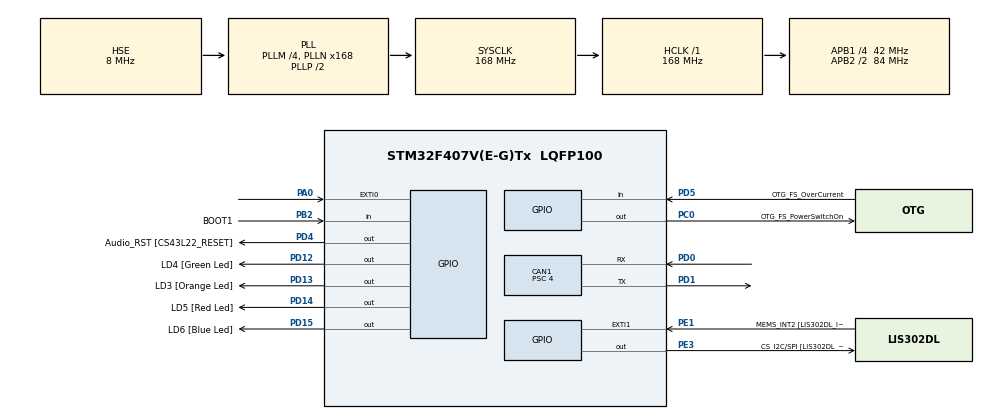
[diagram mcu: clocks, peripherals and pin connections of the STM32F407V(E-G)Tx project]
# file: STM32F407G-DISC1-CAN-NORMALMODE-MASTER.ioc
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CAN1.BS1=CAN_BS1_16TQ
CAN1.BS2=CAN_BS2_4TQ
CAN1.CalculateBaudRate=500000
CAN1.CalculateTimeBit=2000
CAN1.CalculateTimeQuantum=95.23809523809524
CAN1.Mode=CAN_MODE_NORMAL
CAN1.NART=ENABLE
CAN1.Prescaler=4
Mcu.Family=STM32F4
Mcu.Name=STM32F407V(E-G)Tx
Mcu.Package=LQFP100
NVIC.CAN1_RX0_IRQn=true\:0\:0\:false\:false\:true\:true\:true\:true
NVIC.EXTI0_IRQn=true\:0\:0\:false\:false\:true\:true\:true\:true
NVIC.PriorityGroup=NVIC_PRIORITYGROUP_0
PA0-WKUP.Signal=GPXTI0
PA10.GPIO_Label=OTG_FS_ID
PA10.GPIO_Mode=GPIO_MODE_AF_PP
PA10.GPIO_PuPd=GPIO_NOPULL
PA10.GPIO_Speed=GPIO_SPEED_FREQ_LOW
PA10.Signal=USB_OTG_FS_ID
PA11.GPIO_Label=OTG_FS_DM
PA11.GPIO_Mode=GPIO_MODE_AF_PP
PA11.GPIO_PuPd=GPIO_NOPULL
PA11.GPIO_Speed=GPIO_SPEED_FREQ_LOW
PA11.Signal=USB_OTG_FS_DM
PA12.GPIO_Label=OTG_FS_DP
PA12.GPIO_Mode=GPIO_MODE_AF_PP
PA12.GPIO_PuPd=GPIO_NOPULL
PA12.GPIO_Speed=GPIO_SPEED_FREQ_LOW
PA12.Signal=USB_OTG_FS_DP
PA13.GPIO_Label=SWDIO
PA13.Signal=SYS_JTMS-SWDIO
PA14.GPIO_Label=SWCLK
PA14.Signal=SYS_JTCK-SWCLK
PA4.GPIO_Label=I2S3_WS [CS43L22_LRCK]
PA4.GPIO_Mode=GPIO_MODE_AF_PP
PA4.GPIO_PuPd=GPIO_NOPULL
PA4.GPIO_Speed=GPIO_SPEED_FREQ_LOW
PA4.Signal=I2S3_WS
PA5.GPIO_Label=SPI1_SCK [LIS302DL_SCL/SPC]
PA5.GPIO_Mode=GPIO_MODE_AF_PP
PA5.GPIO_PuPd=GPIO_NOPULL
PA5.GPIO_Speed=GPIO_SPEED_FREQ_LOW
PA5.Signal=SPI1_SCK
PA6.GPIO_Label=SPI1_MISO [LIS302DL_SDO]
PA6.GPIO_Mode=GPIO_MODE_AF_PP
PA6.GPIO_PuPd=GPIO_NOPULL
PA6.GPIO_Speed=GPIO_SPEED_FREQ_LOW
PA6.Signal=SPI1_MISO
PA7.GPIO_Label=SPI1_MOSI [LIS302DL_SDA/SDI/SDO]
PA7.GPIO_Mode=GPIO_MODE_AF_PP
PA7.GPIO_PuPd=GPIO_NOPULL
PA7.GPIO_Speed=GPIO_SPEED_FREQ_LOW
PA7.Signal=SPI1_MOSI
PA9.GPIO_Label=VBUS_FS
PA9.GPIO_Mode=GPIO_MODE_INPUT
PA9.GPIO_PuPd=GPIO_NOPULL
PA9.Signal=USB_OTG_FS_VBUS
PB10.GPIO_Label=CLK_IN [MP45DT02_CLK]
PB10.GPIO_Mode=GPIO_MODE_AF_PP
PB10.GPIO_PuPd=GPIO_NOPULL
PB10.GPIO_Speed=GPIO_SPEED_FREQ_LOW
PB10.Signal=I2S2_CK
PB2.GPIO_Label=BOOT1
PB2.GPIO_Mode=GPIO_MODE_INPUT
PB2.GPIO_PuPd=GPIO_NOPULL
PB2.Signal=GPIO_Input
PB3.GPIO_Label=SWO
PB3.Signal=SYS_JTDO-SWO
PB6.GPIO_Label=Audio_SCL [CS43L22_SCL]
PB6.GPIO_Mode=GPIO_MODE_AF_OD
PB6.GPIO_PuPd=GPIO_NOPULL
PB6.GPIO_Speed=GPIO_SPEED_FREQ_LOW
PB6.Signal=I2C1_SCL
PB9.GPIO_Label=Audio_SDA [CS43L22_SDA]
PB9.GPIO_Mode=GPIO_MODE_AF_OD
PB9.GPIO_PuPd=GPIO_NOPULL
PB9.GPIO_Speed=GPIO_SPEED_FREQ_LOW
PB9.Signal=I2C1_SDA
PC0.GPIO_Label=OTG_FS_PowerSwitchOn
PC0.GPIO_PuPd=GPIO_NOPULL
PC0.GPIO_Speed=GPIO_SPEED_FREQ_LOW
PC0.PinState=GPIO_PIN_SET
PC0.Signal=GPIO_Output
PC10.GPIO_Label=I2S3_SCK [CS43L22_SCLK]
PC10.GPIO_Mode=GPIO_MODE_AF_PP
PC10.GPIO_PuPd=GPIO_NOPULL
PC10.GPIO_Speed=GPIO_SPEED_FREQ_LOW
PC10.Signal=I2S3_CK
PC12.GPIO_Label=I2S3_SD [CS43L22_SDIN]
PC12.GPIO_Mode=GPIO_MODE_AF_PP
PC12.GPIO_PuPd=GPIO_NOPULL
PC12.GPIO_Speed=GPIO_SPEED_FREQ_LOW
PC12.Signal=I2S3_SD
PC14-OSC32_IN.GPIO_Label=PC14-OSC32_IN
PC14-OSC32_IN.Signal=RCC_OSC32_IN
PC15-OSC32_OUT.GPIO_Label=PC15-OSC32_OUT
PC15-OSC32_OUT.Signal=RCC_OSC32_OUT
PC3.GPIO_Label=PDM_OUT [MP45DT02_DOUT]
PC3.GPIO_Mode=GPIO_MODE_AF_PP
PC3.GPIO_PuPd=GPIO_NOPULL
PC3.GPIO_Speed=GPIO_SPEED_FREQ_LOW
PC3.Signal=I2S2_SD
PC7.GPIO_Label=I2S3_MCK [CS43L22_MCLK]
PC7.GPIO_Mode=GPIO_MODE_AF_PP
PC7.GPIO_PuPd=GPIO_NOPULL
PC7.GPIO_Speed=GPIO_SPEED_FREQ_LOW
PC7.Signal=I2S3_MCK
PD0.GPIO_PuPd=GPIO_PULLUP
PD0.Mode=CAN_Activate
PD0.Signal=CAN1_RX
PD1.GPIO_PuPd=GPIO_NOPULL
PD1.Mode=CAN_Activate
PD1.Signal=CAN1_TX
PD12.GPIO_Label=LD4 [Green Led]
PD12.GPIO_PuPd=GPIO_NOPULL
PD12.GPIO_Speed=GPIO_SPEED_FREQ_LOW
PD12.Signal=GPIO_Output
PD13.GPIO_Label=LD3 [Orange Led]
PD13.GPIO_PuPd=GPIO_NOPULL
PD13.GPIO_Speed=GPIO_SPEED_FREQ_LOW
PD13.Signal=GPIO_Output
PD14.GPIO_Label=LD5 [Red Led]
PD14.GPIO_PuPd=GPIO_NOPULL
PD14.GPIO_Speed=GPIO_SPEED_FREQ_LOW
PD14.Signal=GPIO_Output
PD15.GPIO_Label=LD6 [Blue Led]
PD15.GPIO_PuPd=GPIO_NOPULL
PD15.GPIO_Speed=GPIO_SPEED_FREQ_LOW
PD15.Signal=GPIO_Output
PD4.GPIO_Label=Audio_RST [CS43L22_RESET]
PD4.GPIO_PuPd=GPIO_NOPULL
PD4.GPIO_Speed=GPIO_SPEED_FREQ_LOW
PD4.Signal=GPIO_Output
PD5.GPIO_Label=OTG_FS_OverCurrent
PD5.GPIO_Mode=GPIO_MODE_INPUT
PD5.GPIO_PuPd=GPIO_NOPULL
PD5.Signal=GPIO_Input
PE1.GPIO_Label=MEMS_INT2 [LIS302DL_INT2]
PE1.GPIO_ModeDefaultEXTI=GPIO_MODE_EVT_RISING
PE1.GPIO_PuPd=GPIO_NOPULL
PE1.Signal=GPXTI1
PE3.GPIO_Label=CS_I2C/SPI [LIS302DL_CS_I2C/SPI]
PE3.GPIO_PuPd=GPIO_NOPULL
PE3.GPIO_Speed=GPIO_SPEED_FREQ_LOW
PE3.Signal=GPIO_Output
PH0-OSC_IN.GPIO_Label=PH0-OSC_IN
PH0-OSC_IN.Mode=HSE-External-Oscillator
PH0-OSC_IN.Signal=RCC_OSC_IN
PH1-OSC_OUT.GPIO_Label=PH1-OSC_OUT
PH1-OSC_OUT.Mode=HSE-External-Oscillator
PH1-OSC_OUT.Signal=RCC_OSC_OUT
ProjectManager.HeapSize=0x200
ProjectManager.StackSize=0x400
ProjectManager.TargetToolchain=STM32CubeIDE
RCC.48MHZClocksFreq_Value=48000000
RCC.AHBFreq_Value=168000000
RCC.APB1CLKDivider=RCC_HCLK_DIV4
RCC.APB1Freq_Value=42000000
RCC.APB1TimFreq_Value=84000000
RCC.APB2CLKDivider=RCC_HCLK_DIV2
RCC.APB2Freq_Value=84000000
RCC.APB2TimFreq_Value=168000000
RCC.CortexFreq_Value=168000000
RCC.HCLKFreq_Value=168000000
RCC.HSE_VALUE=8000000
RCC.HSI_VALUE=16000000
RCC.LSE_VALUE=32768
RCC.PLLM=4
RCC.PLLN=168
RCC.PLLQ=7
RCC.PLLSourceVirtual=RCC_PLLSOURCE_HSE
RCC.SYSCLKFreq_VALUE=168000000
RCC.SYSCLKSource=RCC_SYSCLKSOURCE_PLLCLK
RCC.VCOOutputFreq_Value=336000000
board=STM32F407G-DISC1

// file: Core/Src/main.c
/* USER CODE BEGIN Header */
/**
  ******************************************************************************
  * @file           : main.c
  * @brief          : Main program body
  ******************************************************************************
  * @attention
  *
  * Copyright (c) 2023 STMicroelectronics.
  * All rights reserved.
  *
  * This software is licensed under terms that can be found in the LICENSE file
  * in the root directory of this software component.
  * If no LICENSE file comes with this software, it is provided AS-IS.
  *
  ******************************************************************************
  */
/* USER CODE END Header */
#include "main.h"

CAN_HandleTypeDef hcan1;

/* USER CODE BEGIN PV */
CAN_TxHeaderTypeDef TxHeader; // Declare a CAN Transmit header structure
CAN_RxHeaderTypeDef RxHeader; // Declare a CAN receive header structure
uint32_t TxMailbox;
uint8_t rcv_msg[2];
uint8_t msg[2] = "OK";
/* USER CODE END PV */

void SystemClock_Config(void);
static void MX_GPIO_Init(void);
static void MX_CAN1_Init(void);
/* USER CODE BEGIN PFP */
void Filter_Config(void); //CAN1 Filter Configuration
void CAN1_Tx(void); //CAN transmit using polling method.
void CAN1_Rx(void); //CAN receive using polling method.
/* USER CODE END PFP */

int main(void)
{

  /* MCU Configuration--------------------------------------------------------*/

  /* Reset of all peripherals, Initializes the Flash interface and the Systick. */
  HAL_Init();

  /* Configure the system clock */
  SystemClock_Config();

  /* Initialize all configured peripherals */
  MX_GPIO_Init();
  MX_CAN1_Init();
  /* USER CODE BEGIN 2 */

  // LED pins initialization
  HAL_GPIO_WritePin(GPIOD, GPIO_PIN_12, GPIO_PIN_RESET); // Reset The Green LED
  HAL_GPIO_WritePin(GPIOD, GPIO_PIN_13, GPIO_PIN_RESET); // Reset The Orange Led
  HAL_GPIO_WritePin(GPIOD, GPIO_PIN_14, GPIO_PIN_RESET); // Reset The Red Led

//  CAN1_Tx(); // Use this method when Transmitting, Comment or remove if the Device should Only Receive.
  CAN1_Rx(); // Use this method when Receiving, Comment or remove if the Device should Only Transmit.

  /* USER CODE END 2 */
  /* Infinite loop */
  while (1)
  {

  }
}

void SystemClock_Config(void)
{
  RCC_OscInitTypeDef RCC_OscInitStruct = {0};
  RCC_ClkInitTypeDef RCC_ClkInitStruct = {0};

  /** Configure the main internal regulator output voltage
  */
  __HAL_RCC_PWR_CLK_ENABLE();
  __HAL_PWR_VOLTAGESCALING_CONFIG(PWR_REGULATOR_VOLTAGE_SCALE1);

  /** Initializes the RCC Oscillators according to the specified parameters
  * in the RCC_OscInitTypeDef structure.
  */
  RCC_OscInitStruct.OscillatorType = RCC_OSCILLATORTYPE_HSE;
  RCC_OscInitStruct.HSEState = RCC_HSE_ON;
  RCC_OscInitStruct.PLL.PLLState = RCC_PLL_ON;
  RCC_OscInitStruct.PLL.PLLSource = RCC_PLLSOURCE_HSE;
  RCC_OscInitStruct.PLL.PLLM = 4;
  RCC_OscInitStruct.PLL.PLLN = 168;
  RCC_OscInitStruct.PLL.PLLP = RCC_PLLP_DIV2;
  RCC_OscInitStruct.PLL.PLLQ = 7;
  if (HAL_RCC_OscConfig(&RCC_OscInitStruct) != HAL_OK)
  {
    Error_Handler();
  }

  /** Initializes the CPU, AHB and APB buses clocks
  */
  RCC_ClkInitStruct.ClockType = RCC_CLOCKTYPE_HCLK|RCC_CLOCKTYPE_SYSCLK
                              |RCC_CLOCKTYPE_PCLK1|RCC_CLOCKTYPE_PCLK2;
  RCC_ClkInitStruct.SYSCLKSource = RCC_SYSCLKSOURCE_PLLCLK;
  RCC_ClkInitStruct.AHBCLKDivider = RCC_SYSCLK_DIV1;
  RCC_ClkInitStruct.APB1CLKDivider = RCC_HCLK_DIV4;
  RCC_ClkInitStruct.APB2CLKDivider = RCC_HCLK_DIV2;

  if (HAL_RCC_ClockConfig(&RCC_ClkInitStruct, FLASH_LATENCY_5) != HAL_OK)
  {
    Error_Handler();
  }
}

static void MX_CAN1_Init(void)
{

  hcan1.Instance = CAN1;
  hcan1.Init.Prescaler = 4;
  hcan1.Init.Mode = CAN_MODE_NORMAL;
  hcan1.Init.SyncJumpWidth = CAN_SJW_1TQ;
  hcan1.Init.TimeSeg1 = CAN_BS1_16TQ;
  hcan1.Init.TimeSeg2 = CAN_BS2_4TQ;
  hcan1.Init.TimeTriggeredMode = DISABLE;
  hcan1.Init.AutoBusOff = DISABLE;
  hcan1.Init.AutoWakeUp = DISABLE;
  hcan1.Init.AutoRetransmission = ENABLE;
  hcan1.Init.ReceiveFifoLocked = DISABLE;
  hcan1.Init.TransmitFifoPriority = DISABLE;
  if (HAL_CAN_Init(&hcan1) != HAL_OK)
  {
    Error_Handler();
  }
  /* USER CODE BEGIN CAN1_Init 2 */

  //Filter Configuration
  Filter_Config();

  // Start the CAN1 Peripheral
  if(HAL_CAN_Start(&hcan1) != HAL_OK){
	  Error_Handler();
  }

  // Activate Interrupts for the CAN1 Peripheral
  /*
  if (HAL_CAN_ActivateNotification(&hcan1, CAN_IT_RX_FIFO0_MSG_PENDING) != HAL_OK)
  {
	  Error_Handler();
  }
  */
  /* USER CODE END CAN1_Init 2 */

}

static void MX_GPIO_Init(void)
{
  GPIO_InitTypeDef GPIO_InitStruct = {0};

  /* GPIO Ports Clock Enable */
  __HAL_RCC_GPIOE_CLK_ENABLE();
  __HAL_RCC_GPIOC_CLK_ENABLE();
  __HAL_RCC_GPIOH_CLK_ENABLE();
  __HAL_RCC_GPIOA_CLK_ENABLE();
  __HAL_RCC_GPIOB_CLK_ENABLE();
  __HAL_RCC_GPIOD_CLK_ENABLE();

  /*Configure GPIO pin Output Level */
  HAL_GPIO_WritePin(CS_I2C_SPI_GPIO_Port, CS_I2C_SPI_Pin, GPIO_PIN_RESET);

  /*Configure GPIO pin Output Level */
  HAL_GPIO_WritePin(OTG_FS_PowerSwitchOn_GPIO_Port, OTG_FS_PowerSwitchOn_Pin, GPIO_PIN_SET);

  /*Configure GPIO pin Output Level */
  HAL_GPIO_WritePin(GPIOD, LD4_Pin|LD3_Pin|LD5_Pin|LD6_Pin
                          |Audio_RST_Pin, GPIO_PIN_RESET);

  /*Configure GPIO pin : CS_I2C_SPI_Pin */
  GPIO_InitStruct.Pin = CS_I2C_SPI_Pin;
  GPIO_InitStruct.Mode = GPIO_MODE_OUTPUT_PP;
  GPIO_InitStruct.Pull = GPIO_NOPULL;
  GPIO_InitStruct.Speed = GPIO_SPEED_FREQ_LOW;
  HAL_GPIO_Init(CS_I2C_SPI_GPIO_Port, &GPIO_InitStruct);

  /*Configure GPIO pin : OTG_FS_PowerSwitchOn_Pin */
  GPIO_InitStruct.Pin = OTG_FS_PowerSwitchOn_Pin;
  GPIO_InitStruct.Mode = GPIO_MODE_OUTPUT_PP;
  GPIO_InitStruct.Pull = GPIO_NOPULL;
  GPIO_InitStruct.Speed = GPIO_SPEED_FREQ_LOW;
  HAL_GPIO_Init(OTG_FS_PowerSwitchOn_GPIO_Port, &GPIO_InitStruct);

  /*Configure GPIO pin : PDM_OUT_Pin */
  GPIO_InitStruct.Pin = PDM_OUT_Pin;
  GPIO_InitStruct.Mode = GPIO_MODE_AF_PP;
  GPIO_InitStruct.Pull = GPIO_NOPULL;
  GPIO_InitStruct.Speed = GPIO_SPEED_FREQ_LOW;
  GPIO_InitStruct.Alternate = GPIO_AF5_SPI2;
  HAL_GPIO_Init(PDM_OUT_GPIO_Port, &GPIO_InitStruct);

  /*Configure GPIO pin : PA0 */
  GPIO_InitStruct.Pin = GPIO_PIN_0;
  GPIO_InitStruct.Mode = GPIO_MODE_IT_RISING;
  GPIO_InitStruct.Pull = GPIO_NOPULL;
  HAL_GPIO_Init(GPIOA, &GPIO_InitStruct);

  /*Configure GPIO pin : I2S3_WS_Pin */
  GPIO_InitStruct.Pin = I2S3_WS_Pin;
  GPIO_InitStruct.Mode = GPIO_MODE_AF_PP;
  GPIO_InitStruct.Pull = GPIO_NOPULL;
  GPIO_InitStruct.Speed = GPIO_SPEED_FREQ_LOW;
  GPIO_InitStruct.Alternate = GPIO_AF6_SPI3;
  HAL_GPIO_Init(I2S3_WS_GPIO_Port, &GPIO_InitStruct);

  /*Configure GPIO pins : SPI1_SCK_Pin SPI1_MISO_Pin SPI1_MOSI_Pin */
  GPIO_InitStruct.Pin = SPI1_SCK_Pin|SPI1_MISO_Pin|SPI1_MOSI_Pin;
  GPIO_InitStruct.Mode = GPIO_MODE_AF_PP;
  GPIO_InitStruct.Pull = GPIO_NOPULL;
  GPIO_InitStruct.Speed = GPIO_SPEED_FREQ_LOW;
  GPIO_InitStruct.Alternate = GPIO_AF5_SPI1;
  HAL_GPIO_Init(GPIOA, &GPIO_InitStruct);

  /*Configure GPIO pin : BOOT1_Pin */
  GPIO_InitStruct.Pin = BOOT1_Pin;
  GPIO_InitStruct.Mode = GPIO_MODE_INPUT;
  GPIO_InitStruct.Pull = GPIO_NOPULL;
  HAL_GPIO_Init(BOOT1_GPIO_Port, &GPIO_InitStruct);

  /*Configure GPIO pin : CLK_IN_Pin */
  GPIO_InitStruct.Pin = CLK_IN_Pin;
  GPIO_InitStruct.Mode = GPIO_MODE_AF_PP;
  GPIO_InitStruct.Pull = GPIO_NOPULL;
  GPIO_InitStruct.Speed = GPIO_SPEED_FREQ_LOW;
  GPIO_InitStruct.Alternate = GPIO_AF5_SPI2;
  HAL_GPIO_Init(CLK_IN_GPIO_Port, &GPIO_InitStruct);

  /*Configure GPIO pins : LD4_Pin LD3_Pin LD5_Pin LD6_Pin
                           Audio_RST_Pin */
  GPIO_InitStruct.Pin = LD4_Pin|LD3_Pin|LD5_Pin|LD6_Pin
                          |Audio_RST_Pin;
  GPIO_InitStruct.Mode = GPIO_MODE_OUTPUT_PP;
  GPIO_InitStruct.Pull = GPIO_NOPULL;
  GPIO_InitStruct.Speed = GPIO_SPEED_FREQ_LOW;
  HAL_GPIO_Init(GPIOD, &GPIO_InitStruct);

  /*Configure GPIO pins : I2S3_MCK_Pin I2S3_SCK_Pin I2S3_SD_Pin */
  GPIO_InitStruct.Pin = I2S3_MCK_Pin|I2S3_SCK_Pin|I2S3_SD_Pin;
  GPIO_InitStruct.Mode = GPIO_MODE_AF_PP;
  GPIO_InitStruct.Pull = GPIO_NOPULL;
  GPIO_InitStruct.Speed = GPIO_SPEED_FREQ_LOW;
  GPIO_InitStruct.Alternate = GPIO_AF6_SPI3;
  HAL_GPIO_Init(GPIOC, &GPIO_InitStruct);

  /*Configure GPIO pin : VBUS_FS_Pin */
  GPIO_InitStruct.Pin = VBUS_FS_Pin;
  GPIO_InitStruct.Mode = GPIO_MODE_INPUT;
  GPIO_InitStruct.Pull = GPIO_NOPULL;
  HAL_GPIO_Init(VBUS_FS_GPIO_Port, &GPIO_InitStruct);

  /*Configure GPIO pins : OTG_FS_ID_Pin OTG_FS_DM_Pin OTG_FS_DP_Pin */
  GPIO_InitStruct.Pin = OTG_FS_ID_Pin|OTG_FS_DM_Pin|OTG_FS_DP_Pin;
  GPIO_InitStruct.Mode = GPIO_MODE_AF_PP;
  GPIO_InitStruct.Pull = GPIO_NOPULL;
  GPIO_InitStruct.Speed = GPIO_SPEED_FREQ_LOW;
  GPIO_InitStruct.Alternate = GPIO_AF10_OTG_FS;
  HAL_GPIO_Init(GPIOA, &GPIO_InitStruct);

  /*Configure GPIO pin : OTG_FS_OverCurrent_Pin */
  GPIO_InitStruct.Pin = OTG_FS_OverCurrent_Pin;
  GPIO_InitStruct.Mode = GPIO_MODE_INPUT;
  GPIO_InitStruct.Pull = GPIO_NOPULL;
  HAL_GPIO_Init(OTG_FS_OverCurrent_GPIO_Port, &GPIO_InitStruct);

  /*Configure GPIO pins : Audio_SCL_Pin Audio_SDA_Pin */
  GPIO_InitStruct.Pin = Audio_SCL_Pin|Audio_SDA_Pin;
  GPIO_InitStruct.Mode = GPIO_MODE_AF_OD;
  GPIO_InitStruct.Pull = GPIO_NOPULL;
  GPIO_InitStruct.Speed = GPIO_SPEED_FREQ_LOW;
  GPIO_InitStruct.Alternate = GPIO_AF4_I2C1;
  HAL_GPIO_Init(GPIOB, &GPIO_InitStruct);

  /*Configure GPIO pin : MEMS_INT2_Pin */
  GPIO_InitStruct.Pin = MEMS_INT2_Pin;
  GPIO_InitStruct.Mode = GPIO_MODE_EVT_RISING;
  GPIO_InitStruct.Pull = GPIO_NOPULL;
  HAL_GPIO_Init(MEMS_INT2_GPIO_Port, &GPIO_InitStruct);

  /* EXTI interrupt init*/
  HAL_NVIC_SetPriority(EXTI0_IRQn, 0, 0);
  HAL_NVIC_EnableIRQ(EXTI0_IRQn);

}

/* USER CODE BEGIN 4 */
void CAN1_Tx(){
	TxHeader.DLC = 2;
	TxHeader.StdId = 0x65D;
	TxHeader.IDE = CAN_ID_STD;
	TxHeader.RTR = CAN_RTR_DATA;

	// Attempt to add the message to the CAN transmission queue
	HAL_CAN_AddTxMessage(&hcan1, &TxHeader, msg, &TxMailbox);

	while(HAL_CAN_IsTxMessagePending(&hcan1, TxMailbox));

	HAL_GPIO_WritePin(GPIOD, GPIO_PIN_12, GPIO_PIN_SET); //SET The BLUE Led if the Transmit is Successful.
}
/*
 * Interrupt Method of revceival of CAN Messages */
/*
void HAL_CAN_RxFifo0MsgPendingCallback(CAN_HandleTypeDef *hcan){
	HAL_GPIO_WritePin(GPIOD, GPIO_PIN_12, SET);
	  if (HAL_CAN_GetRxMessage(hcan, CAN_RX_FIFO0, &RxHeader, rcv_msg) != HAL_OK)
	  {
	    Error_Handler();
	  }
}
*/

void CAN1_Rx(){

	// Wait for at least one message in to the RX FIFO0
	while(!HAL_CAN_GetRxFifoFillLevel(&hcan1, CAN_RX_FIFO0));

	// Attempt to get a received message from RX FIFO0
	if(HAL_CAN_GetRxMessage(&hcan1, CAN_RX_FIFO0, &RxHeader, rcv_msg) != HAL_OK){
		Error_Handler();
	}

	HAL_GPIO_WritePin(GPIOD, GPIO_PIN_13, GPIO_PIN_SET); //SET The Green Led if the Receival is successful.

}

void Filter_Config(){
	  CAN_FilterTypeDef canfilterconfig;

	  canfilterconfig.FilterActivation = CAN_FILTER_ENABLE;
	  canfilterconfig.FilterBank = 0;  // which filter bank to use from the assigned ones
	  canfilterconfig.FilterFIFOAssignment = CAN_FILTER_FIFO0;
	  canfilterconfig.FilterIdHigh = 0x0000;
	  canfilterconfig.FilterIdLow = 0x0000;
	  canfilterconfig.FilterMaskIdHigh = 0x0000;
	  canfilterconfig.FilterMaskIdLow = 0x0000;
	  canfilterconfig.FilterMode = CAN_FILTERMODE_IDMASK;
	  canfilterconfig.FilterScale = CAN_FILTERSCALE_32BIT;

	  if(HAL_CAN_ConfigFilter(&hcan1, &canfilterconfig) != HAL_OK){
		  Error_Handler();
	  }
}

void HAL_GPIO_EXTI_Callback(uint16_t GPIO_Pin){
	if(GPIO_Pin == GPIO_PIN_0){
		CAN1_Tx();
	}
}
/* USER CODE END 4 */

void Error_Handler(void)
{
  /* USER CODE BEGIN Error_Handler_Debug */
	HAL_GPIO_WritePin(GPIOD, GPIO_PIN_13, RESET);
	HAL_GPIO_WritePin(GPIOD, GPIO_PIN_12, RESET);
	HAL_GPIO_WritePin(GPIOD, GPIO_PIN_14, SET); //SET The RED Led Indicating an Error State.
  /* User can add his own implementation to report the HAL error return state */
  __disable_irq();
  while (1)
  {
  }
  /* USER CODE END Error_Handler_Debug */
}
